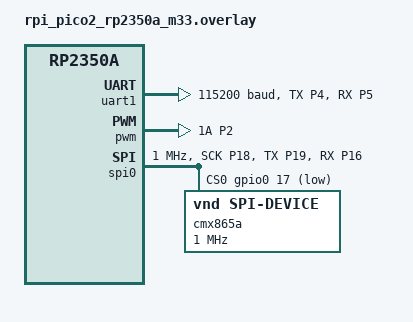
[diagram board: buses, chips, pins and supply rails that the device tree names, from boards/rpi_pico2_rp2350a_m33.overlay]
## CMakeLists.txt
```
cmake_minimum_required(VERSION 3.20.0)

find_package(Zephyr REQUIRED HINTS $ENV{ZEPHYR_BASE})
project(blueline)

target_sources(app PRIVATE
	src/main.c
	src/fsm_main.c
	src/pico_io.c
	src/bt_uart.c
	src/bt_fsm.c
	src/bm_83.c
	src/slic.c
	src/ring.c
	src/tone.c
)
```

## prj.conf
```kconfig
CONFIG_GPIO=y
CONFIG_LOG=y
CONFIG_THREAD_NAME=y
CONFIG_PRINTK=y
CONFIG_SERIAL=y
CONFIG_UART_INTERRUPT_DRIVEN=y
CONFIG_PWM=y
CONFIG_SPI=y
CONFIG_EVENTS=y

# Log buffer: BM83 sends event bursts (one every ~5 ms) faster than the
# 115200 baud console can print them; 1024 (default) drops log messages
CONFIG_LOG_BUFFER_SIZE=8192
```

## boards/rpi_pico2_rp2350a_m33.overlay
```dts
/*
 * blueline - devicetree overlay for rpi_pico2/rp2350a/m33
 *
 * Only changes to the stock board devicetree are listed here. The stock board
 * already provides: gpio0, console on uart0 (GPIO0 TX / GPIO1 RX) and the user
 * LED led0 on GPIO25.
 *
 * GPIO usage of this project. The pins are configured at runtime in
 * src/pico_io.c, not through devicetree nodes:
 *
 *   GPIO2   POT_FWD_PIN      SLIC, PWM1 output (slice 1 A), 25 Hz, duty 100 % = high (src/ring.c)
 *   GPIO3   POT_PDOWN_N_PIN  SLIC power down, tristate after init (src/slic.c)
 *   GPIO6   BT_RST_N_PIN     output (BM83 reset, src/bm_83.c), low after init
 *   GPIO7   RING_MODE_PIN    SLIC, output, low after init, switched by bell_fsm (src/ring.c)
 *   GPIO8   BT_MFB_PIN       output (BM83 MFB, src/bm_83.c), low after init
 *   GPIO11  SHK_RISING_PIN   input, no pulls, IRQ on rising edge
 *   GPIO12  SHK_FALLING_PIN  input, no pulls, IRQ on falling edge
 *   GPIO25  PICO_IO_LED_PIN  output, user LED, high = on
 *
 * UART1 to the Microchip BM83 Bluetooth module (src/bt_uart.c):
 *
 *   GPIO4   UART1 TX  (RP2350 -> BM83)
 *   GPIO5   UART1 RX  (BM83 -> RP2350)
 *   115200 baud, 8N1, no flow control
 *
 * SPI0 (C-BUS) to the CMX865A Telecom Signalling Device (src/tone.c):
 *
 *   GP16  SPI0 RX  (MISO, CMX865A REPLY DATA)
 *   GP17  CS0      (CMX865A CSN, GPIO chip select, active low)
 *   GP18  SPI0 SCK (CMX865A SERIAL CLOCK)
 *   GP19  SPI0 TX  (MOSI, CMX865A COMMAND DATA)
 *   1 MHz (C-BUS max 5 MHz), SPI mode 3
 */

/* pico_io.c uses gpio0 directly (DT_NODELABEL(gpio0)) */
&gpio0 {
	status = "okay";
};

/* The stock board enables i2c0 (GPIO4/5) and i2c1 (GPIO6/7). These pins are
 * used here for UART1 and RING_MODE, so both I2C controllers are disabled. */
&i2c0 {
	status = "disabled";
};

&i2c1 {
	status = "disabled";
};

&pinctrl {
	/* ringer PWM: PWM slice 1 channel A on GP2 (POT_FWD), src/ring.c */
	pwm_ch1a_default: pwm_ch1a_default {
		group1 {
			pinmux = <PWM_1A_P2>;
		};
	};

	/* SPI0 without the hardware CSN: GP17 is a GPIO chip select, so CSN
	 * stays low for a whole multi-byte C-BUS transaction */
	spi0_cmx: spi0_cmx {
		group1 {
			pinmux = <SPI0_SCK_P18>, <SPI0_TX_P19>;
		};
		group2 {
			pinmux = <SPI0_RX_P16>;
			input-enable;
		};
	};

	uart1_default: uart1_default {
		group1 {
			pinmux = <UART1_TX_P4>;
		};
		group2 {
			pinmux = <UART1_RX_P5>;
			input-enable;
		};
	};
};

/* BM83 link, no hw-flow-control property = no RTS/CTS */
&uart1 {
	status = "okay";
	current-speed = <115200>;
	pinctrl-0 = <&uart1_default>;
	pinctrl-names = "default";
};

/* Ringer PWM on GP2 (src/ring.c). Replaces the board default pinctrl
 * (PWM 4B on the user LED GP25), so GP25 stays a GPIO. */
&pwm {
	status = "okay";
	pinctrl-0 = <&pwm_ch1a_default>;
	pinctrl-names = "default";
};

/* CMX865A on SPI0 (src/tone.c) */
&spi0 {
	status = "okay";
	clock-frequency = <DT_FREQ_M(1)>;
	pinctrl-0 = <&spi0_cmx>;
	pinctrl-names = "default";
	cs-gpios = <&gpio0 17 GPIO_ACTIVE_LOW>;

	cmx865a: cmx865a@0 {
		compatible = "vnd,spi-device";
		reg = <0>;
		spi-max-frequency = <DT_FREQ_M(1)>;
	};
};
```

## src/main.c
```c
/*
 * blueline - main.c
 * Target: Raspberry Pi Pico 2 (RP2350), Zephyr RTOS
 * Initialises the I/O and creates all application threads.
 */

#include <zephyr/kernel.h>
#include <zephyr/logging/log.h>

#include "main.h"
#include "fsm_main.h"
#include "bt_fsm.h"
#include "pico_io.h"
#include "bt_uart.h"
#include "bm_83.h"
#include "slic.h"
#include "ring.h"
#include "tone.h"

LOG_MODULE_REGISTER(main, LOG_LEVEL_INF);

/* ---- fsm_thread -------------------------------------------------------- */

K_THREAD_STACK_DEFINE(fsm_thread_stack, FSM_THREAD_STACK_SIZE);
static struct k_thread fsm_thread_data;
static k_tid_t fsm_thread_id;

/* ---- bt_fsm_thread ----------------------------------------------------- */

K_THREAD_STACK_DEFINE(bt_fsm_thread_stack, BT_FSM_THREAD_STACK_SIZE);
static struct k_thread bt_fsm_thread_data;
static k_tid_t bt_fsm_thread_id;

/* ---- bt_rx_thread ------------------------------------------------------ */

K_THREAD_STACK_DEFINE(bt_rx_thread_stack, BT_RX_THREAD_STACK_SIZE);
static struct k_thread bt_rx_thread_data;
static k_tid_t bt_rx_thread_id;

/* ---- ring_thread ------------------------------------------------------- */

K_THREAD_STACK_DEFINE(ring_thread_stack, RING_THREAD_STACK_SIZE);
static struct k_thread ring_thread_data;
static k_tid_t ring_thread_id;

/* ---- bell_thread ------------------------------------------------------- */

K_THREAD_STACK_DEFINE(bell_thread_stack, BELL_THREAD_STACK_SIZE);
static struct k_thread bell_thread_data;
static k_tid_t bell_thread_id;

/* ---- tone_thread ------------------------------------------------------- */

K_THREAD_STACK_DEFINE(tone_thread_stack, TONE_THREAD_STACK_SIZE);
static struct k_thread tone_thread_data;
static k_tid_t tone_thread_id;

/* ---- further threads will be added here -------------------------------- */

int main(void)
{
	LOG_INF("blueline starting");

	/* first: RING_MODE low, then POT_FWD (GP2) PWM at 100 % */
	if (slic_init() < 0) {
		LOG_ERR("SLIC init failed, stopping");
		return -1;
	}

	if (ring_init() < 0) {
		LOG_ERR("ringer PWM init failed, stopping");
		return -1;
	}

	if (pico_io_init() < 0) {
		LOG_ERR("I/O init failed, stopping");
		return -1;
	}

	if (bt_uart_init() < 0) {
		LOG_ERR("BM83 UART init failed, stopping");
		return -1;
	}

	/* CMX865A: reset, power up, TXA/TXAN disconnected.
	 * A failure is only logged, the telephone works without it. */
	if (cmx_init() < 0) {
		LOG_ERR("CMX865A init failed");
	}


	fsm_thread_id = k_thread_create(&fsm_thread_data,
					fsm_thread_stack,
					K_THREAD_STACK_SIZEOF(fsm_thread_stack),
					fsm_main,
					NULL, NULL, NULL,
					FSM_THREAD_PRIORITY, 0, K_NO_WAIT);
	k_thread_name_set(fsm_thread_id, "fsm_thread");

	bt_fsm_thread_id = k_thread_create(&bt_fsm_thread_data,
					   bt_fsm_thread_stack,
					   K_THREAD_STACK_SIZEOF(bt_fsm_thread_stack),
					   bt_fsm_main,
					   NULL, NULL, NULL,
					   BT_FSM_THREAD_PRIORITY, 0, K_NO_WAIT);
	k_thread_name_set(bt_fsm_thread_id, "bt_fsm_thread");

	bt_rx_thread_id = k_thread_create(&bt_rx_thread_data,
					  bt_rx_thread_stack,
					  K_THREAD_STACK_SIZEOF(bt_rx_thread_stack),
					  bt_rx_main,
					  NULL, NULL, NULL,
					  BT_RX_THREAD_PRIORITY, 0, K_NO_WAIT);
	k_thread_name_set(bt_rx_thread_id, "bt_rx_thread");

	ring_thread_id = k_thread_create(&ring_thread_data,
					 ring_thread_stack,
					 K_THREAD_STACK_SIZEOF(ring_thread_stack),
					 generate_ring,
					 NULL, NULL, NULL,
					 RING_THREAD_PRIORITY, 0, K_NO_WAIT);
	k_thread_name_set(ring_thread_id, "ring_thread");

	bell_thread_id = k_thread_create(&bell_thread_data,
					 bell_thread_stack,
					 K_THREAD_STACK_SIZEOF(bell_thread_stack),
					 bell_fsm_main,
					 NULL, NULL, NULL,
					 BELL_THREAD_PRIORITY, 0, K_NO_WAIT);
	k_thread_name_set(bell_thread_id, "bell_thread");

	tone_thread_id = k_thread_create(&tone_thread_data,
					 tone_thread_stack,
					 K_THREAD_STACK_SIZEOF(tone_thread_stack),
					 tone_fsm_main,
					 NULL, NULL, NULL,
					 TONE_THREAD_PRIORITY, 0, K_NO_WAIT);
	k_thread_name_set(tone_thread_id, "tone_thread");

	/* BM83 power-up runs last: bt_rx_thread is already running and shows
	 * the BM83 responses (ACKs, status events) as they arrive. */
	if (IS_ENABLED(BT_UART_TX_DISABLE)) {
		/* BM83 is being programmed through J3: leave it alone */
		LOG_WRN("BT_UART_TX_DISABLE: bm83_init() skipped, GP6/GP8 not driven");
	} else if (bm83_init() < 0) {
		LOG_ERR("BM83 init failed");
		return -1;
	}

	/* main returns; the application threads keep running */
	return 0;
}
```

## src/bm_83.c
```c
/*
 * blueline - bm_83.c
 * Microchip BM83 Bluetooth module: control signals, power-up sequence and
 * commands sent over the UART (bt_uart.c).
 *
 * Power-up sequence (bm83_init):
 *   bt_rst_n = low, bt_mfb = low
 *   100 ms -> bt_mfb   = high
 *    20 ms -> bt_rst_n = high (BM83 out of reset)
 *   500 ms
 *   MMI action 0x51 (power on button press)
 *   MMI action 0x52 (power on button release)
 *   Read_BTM_Version (firmware version)
 *   MMI action 0x5D (enter pairing mode)
 *   bt_mfb = low
 *
 * MFB handshake: in host MCU mode MFB is the BM83 UART_RX_IND input
 * ("UART data from the MCU follows"), see Audio UART Command Set 4.1/4.4/4.5.
 *   command:    MFB high, >= 3 ms, send, wait for Command_ACK (max 200 ms),
 *               MFB low
 *   Event_ACK:  MFB high, >= 3 ms, send, MFB low (no reply)
 * Commands (main thread) and Event_ACKs (bt_rx_thread) can overlap, so MFB
 * is reference counted: high with the first user, low after the last one.
 *
 * The BM83 must be programmed with a host MCU mode configuration (UART
 * command interface enabled), otherwise it ignores all UART commands.
 */

#include <string.h>

#include <zephyr/kernel.h>
#include <zephyr/device.h>
#include <zephyr/drivers/gpio.h>
#include <zephyr/logging/log.h>

#include "bm_83.h"
#include "bt_uart.h"
#include "bt_fsm.h"
#include "tone.h"

LOG_MODULE_REGISTER(bm_83, LOG_LEVEL_INF);

static const struct device *const gpio0 = DEVICE_DT_GET(DT_NODELABEL(gpio0));

/* ---- MFB handshake ----------------------------------------------------- */

K_MUTEX_DEFINE(mfb_mutex);
static uint8_t mfb_users;	/* senders that currently need MFB high */
static int64_t mfb_rise_ticks;	/* uptime when MFB went high */

/* MFB high (if not already) without waiting for the lead time */
static void bm83_mfb_raise(void)
{
	k_mutex_lock(&mfb_mutex, K_FOREVER);
	if (mfb_users++ == 0) {
		gpio_pin_set(gpio0, BT_MFB_PIN, 1);
		mfb_rise_ticks = k_uptime_ticks();
	}
	k_mutex_unlock(&mfb_mutex);
}

/* MFB high and wait until it has been high for BM83_MFB_LEAD_MS */
static void bm83_mfb_get(void)
{
	int64_t ready;
	int64_t now;

	bm83_mfb_raise();

	k_mutex_lock(&mfb_mutex, K_FOREVER);
	ready = mfb_rise_ticks + k_ms_to_ticks_ceil64(BM83_MFB_LEAD_MS);
	k_mutex_unlock(&mfb_mutex);

	now = k_uptime_ticks();
	if (now < ready) {
		k_sleep(K_TICKS(ready - now));
	}
}

/* Release MFB: low again when no other sender needs it */
static void bm83_mfb_put(void)
{
	k_mutex_lock(&mfb_mutex, K_FOREVER);
	if (mfb_users > 0 && --mfb_users == 0) {
		gpio_pin_set(gpio0, BT_MFB_PIN, 0);
	}
	k_mutex_unlock(&mfb_mutex);
}

/* ---- Command_ACK ------------------------------------------------------- */

/* Only one command at a time waits for its Command_ACK */
K_MUTEX_DEFINE(cmd_mutex);
K_SEM_DEFINE(cmd_ack_sem, 0, 1);
static bool cmd_ack_pending;
static uint8_t cmd_ack_id;	/* opcode of the command waiting for its ACK */
static uint8_t cmd_ack_status;

void bm83_command_ack_received(uint8_t cmd_id, uint8_t status)
{
	if (cmd_ack_pending && cmd_id == cmd_ack_id) {
		cmd_ack_status = status;
		cmd_ack_pending = false;

		/* Make_Call result goes to bt_fsm from here, so it is queued
		 * before the Call_Status events that follow the ACK */
		if (cmd_id == BM83_CMD_MAKE_CALL) {
			bt_fsm_post_event(status == BM83_ACK_COMMAND_COMPLETE ?
					  BT_EVT_CALL_ACK_OK : BT_EVT_CALL_ACK_FAIL);
		}

		k_sem_give(&cmd_ack_sem);
	}
}

/* ---- commands ---------------------------------------------------------- */

/* Build a frame for opcode and params */
static int bm83_build(uint8_t *frame, size_t size, uint8_t opcode,
		      const uint8_t *params, uint8_t num_params)
{
	int len;

	len = bt_uart_build_frame(frame, size, opcode, params, num_params);
	if (len < 0) {
		LOG_ERR("command 0x%02X: cannot build frame (%d)", opcode, len);
	}
	return len;
}

/* Send a command with the MFB handshake and wait for its Command_ACK.
 * Must not be called from bt_rx_thread (it delivers the Command_ACK).
 * Returns 0 on "command complete", -EIO for another ACK status,
 * -ETIMEDOUT if no Command_ACK arrives within BM83_CMD_ACK_TIMEOUT_MS. */
static int bm83_send_cmd(uint8_t opcode, const uint8_t *params, uint8_t num_params)
{
	uint8_t frame[BT_FRAME_MAX_LEN];
	int len;
	int ret;

	len = bm83_build(frame, sizeof(frame), opcode, params, num_params);
	if (len < 0) {
		return len;
	}

	k_mutex_lock(&cmd_mutex, K_FOREVER);

	k_sem_reset(&cmd_ack_sem);
	cmd_ack_id = opcode;
	cmd_ack_pending = true;

	bm83_mfb_get();
	bt_uart_send(frame, len);
	ret = k_sem_take(&cmd_ack_sem, K_MSEC(BM83_CMD_ACK_TIMEOUT_MS));
	bm83_mfb_put();

	cmd_ack_pending = false;

	if (ret != 0) {
		LOG_WRN("command 0x%02X: no Command_ACK within %d ms",
			opcode, BM83_CMD_ACK_TIMEOUT_MS);
		ret = -ETIMEDOUT;
	} else if (cmd_ack_status != BM83_ACK_COMMAND_COMPLETE) {
		LOG_WRN("command 0x%02X: Command_ACK status 0x%02X",
			opcode, cmd_ack_status);
		ret = -EIO;
	}

	k_mutex_unlock(&cmd_mutex);
	return ret;
}

int bm83_mmi_action(uint8_t action)
{
	const uint8_t params[] = { BM83_DATABASE_INDEX, action };

	LOG_INF("tx: MMI action 0x%02X", action);
	return bm83_send_cmd(BM83_CMD_MMI_ACTION, params, sizeof(params));
}

int bm83_enter_pairing(void)
{
	LOG_INF("tx: enter pairing mode");
	return bm83_mmi_action(BM83_MMI_ENTER_PAIRING);
}

int bm83_read_link_status(void)
{
	const uint8_t params[] = { 0x00 };	/* reserved */

	LOG_INF("tx: Read_Link_Status");
	return bm83_send_cmd(BM83_CMD_READ_LINK_STATUS, params, sizeof(params));
}

/* Print Read_Link_Status_Reply: device state, then per database the connected
 * profiles, play status and stream status */
static void bm83_log_link_status(const uint8_t *params, uint8_t num_params)
{
	static const char *const states[] = {
		"power off", "pairing", "standby", "connected (HF only)",
		"connected (A2DP only)", "connected (SPP only)",
		"connected (multi-profile)",
	};

	if (num_params < 3) {
		return;
	}

	LOG_INF("link status: device state 0x%02X %s", params[0],
		params[0] < ARRAY_SIZE(states) ? states[params[0]] : "unknown");

	for (uint8_t db = 0; db < 2; db++) {
		uint8_t con = params[1 + db];

		LOG_INF("link status: database %u: HF %s, A2DP %s/%s, AVRCP %s, SPP %s"
			" (0x%02X), play 0x%02X, stream 0x%02X",
			db,
			(con & BIT(3)) ? "yes" : "no",
			(con & BIT(0)) ? "sig" : "-",
			(con & BIT(1)) ? "stream" : "-",
			(con & BIT(2)) ? "yes" : "no",
			(con & BIT(4)) ? "yes" : "no",
			con,
			num_params > 3 + db ? params[3 + db] : 0,
			num_params > 5 + db ? params[5 + db] : 0);
	}
}

int bm83_end_call(void)
{
	LOG_INF("tx: end call");
	return bm83_mmi_action(BM83_MMI_END_CALL);
}

int bm83_accept_call(void)
{
	LOG_INF("tx: accept call");
	return bm83_mmi_action(BM83_MMI_ACCEPT_CALL);
}

int bm83_make_call(const char *number, uint8_t len)
{
	uint8_t params[1 + BM83_PHONE_NUMBER_MAX];

	if (len > BM83_PHONE_NUMBER_MAX) {
		LOG_ERR("Make_Call: number too long (%u digits)", len);
		return -EINVAL;
	}

	params[0] = BM83_DATABASE_INDEX;
	memcpy(&params[1], number, len);

	LOG_INF("tx: Make_Call \"%.*s\"", len, number);
	return bm83_send_cmd(BM83_CMD_MAKE_CALL, params, 1 + len);
}

/* HF link state, written by bt_rx_thread, read by tone_thread */
static atomic_t hf_connected;

bool bm83_hf_connected(void)
{
	return atomic_get(&hf_connected) != 0;
}

void bm83_handle_event(uint8_t opcode, const uint8_t *params, uint8_t num_params)
{
	switch (opcode) {
	case BM83_EVT_BTM_STATUS:
		/* params: state, link_info, ... */
		if (num_params < 1) {
			break;
		}
		if (params[0] == BM83_BTM_HF_LINK_UP) {
			atomic_set(&hf_connected, 1);
			LOG_INF("HF link established");
		} else if (params[0] == BM83_BTM_HF_LINK_DOWN ||
			   params[0] == BM83_BTM_ACL_DOWN ||
			   params[0] == BM83_BTM_POWER_OFF) {
			if (atomic_set(&hf_connected, 0) != 0) {
				LOG_INF("HF link disconnected");
			}
		}
		break;
	case BM83_EVT_LINK_STATUS_REPLY:
		bm83_log_link_status(params, num_params);
		break;
	case BM83_EVT_CALL_STATUS:
		/* params: data_base_index, call status */
		if (num_params < 2) {
			break;
		}
		if (params[1] == BM83_CALL_OUTGOING || params[1] == BM83_CALL_ACTIVE) {
			bt_fsm_post_event(BT_EVT_CALL_OUTGOING);
		} else if (params[1] == BM83_CALL_IDLE) {
			bt_fsm_post_event(BT_EVT_CALL_IDLE);
			/* call ended (e.g. the other party hung up) */
			tone_fsm_post_event(TONE_EVT_CALL_IDLE);
		} else if (params[1] == BM83_CALL_INCOMING) {
			bt_fsm_post_event(BT_EVT_CALL_INCOMING);
			/* lifting the handset now answers the call: no dial tone */
			tone_fsm_post_event(TONE_EVT_CALL_INCOMING);
		}
		break;
	default:
		break;
	}
}

int bm83_read_btm_version(uint8_t type)
{
	const uint8_t params[] = { type };

	LOG_INF("tx: Read_BTM_Version type 0x%02X", type);
	return bm83_send_cmd(BM83_CMD_READ_BTM_VERSION, params, sizeof(params));
}

int bm83_event_ack(uint8_t event_id)
{
	const uint8_t params[] = { event_id };
	uint8_t frame[BT_FRAME_MAX_LEN];
	int len;

	len = bm83_build(frame, sizeof(frame), BM83_CMD_EVENT_ACK,
			 params, sizeof(params));
	if (len < 0) {
		return len;
	}

	/* the BM83 does not answer an Event_ACK: MFB low right after sending */
	bm83_mfb_get();
	bt_uart_send(frame, len);
	bm83_mfb_put();

	LOG_DBG("tx: Event_ACK 0x%02X", event_id);
	return 0;
}

/* ---- init -------------------------------------------------------------- */

int bm83_init(void)
{
	int ret;

	if (!device_is_ready(gpio0)) {
		LOG_ERR("gpio0 not ready");
		return -ENODEV;
	}

	/* bt_rst_n: output, low (BM83 held in reset) */
	ret = gpio_pin_configure(gpio0, BT_RST_N_PIN, GPIO_OUTPUT_LOW);
	if (ret < 0) {
		LOG_ERR("bt_rst_n pin config failed (%d)", ret);
		return ret;
	}

	/* bt_mfb: output, low */
	ret = gpio_pin_configure(gpio0, BT_MFB_PIN, GPIO_OUTPUT_LOW);
	if (ret < 0) {
		LOG_ERR("bt_mfb pin config failed (%d)", ret);
		return ret;
	}

	/* MFB stays high from here through the power-up commands */
	k_msleep(BM83_MFB_HIGH_DELAY_MS);
	bm83_mfb_raise();

	k_msleep(BM83_RST_HIGH_DELAY_MS);
	gpio_pin_set(gpio0, BT_RST_N_PIN, 1);

	k_msleep(BM83_CMD_DELAY_MS);

	ret = bm83_mmi_action(BM83_MMI_POWER_ON_PRESS);
	if (ret == 0) {
		ret = bm83_mmi_action(BM83_MMI_POWER_ON_RELEASE);
	}
	if (ret == 0) {
		ret = bm83_read_btm_version(BM83_VERSION_FW);
	}
	if (ret == 0) {
		ret = bm83_enter_pairing();
	}

	/* end of the power-up sequence: MFB low unless an Event_ACK is going out */
	bm83_mfb_put();

	if (ret < 0) {
		return ret;
	}

	LOG_INF("BM83 initialised (GPIO%d bt_rst_n / GPIO%d bt_mfb)",
		BT_RST_N_PIN, BT_MFB_PIN);
	return 0;
}
```

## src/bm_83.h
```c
/*
 * blueline - bm_83.h
 * Microchip BM83 Bluetooth module: control signals, power-up sequence and
 * commands sent over the UART (bt_uart.c).
 */

#ifndef BM_83_H
#define BM_83_H

#include <stdbool.h>
#include <stdint.h>
#include <zephyr/sys/util.h>

/* Pin assignment */
#define BT_RST_N_PIN   6   /* output, BM83 reset, active low */
#define BT_MFB_PIN     8   /* output, BM83 multi-function button */

/* Power-up sequence timing */
#define BM83_MFB_HIGH_DELAY_MS   100   /* init -> bt_mfb high */
#define BM83_RST_HIGH_DELAY_MS   20    /* bt_mfb high -> bt_rst_n high */
#define BM83_CMD_DELAY_MS        500   /* bt_rst_n high -> first command */

/* MFB handshake (Audio UART Command Set 4.4/4.5) */
#define BM83_MFB_LEAD_MS          3     /* bt_mfb high -> UART data (> 2 ms) */
#define BM83_CMD_ACK_TIMEOUT_MS   200   /* command -> Command_ACK */

/* Command opcodes */
#define BM83_CMD_MAKE_CALL       0x00
#define BM83_CMD_MMI_ACTION      0x02
#define BM83_CMD_READ_BTM_VERSION  0x08
#define BM83_CMD_READ_LINK_STATUS  0x0D
#define BM83_CMD_EVENT_ACK         0x14

/* Event opcodes */
#define BM83_EVT_COMMAND_ACK       0x00
#define BM83_EVT_BTM_STATUS        0x01
#define BM83_EVT_CALL_STATUS       0x02
#define BM83_EVT_LINK_STATUS_REPLY 0x1E

/* BTM_Status (0x01) states used for the HF link state */
#define BM83_BTM_POWER_OFF         0x00   /* power off */
#define BM83_BTM_HF_LINK_UP        0x05   /* HF/HS link established */
#define BM83_BTM_HF_LINK_DOWN      0x07   /* HF link disconnected */
#define BM83_BTM_ACL_DOWN          0x11   /* ACL disconnected */

/* Call_Status states */
#define BM83_CALL_IDLE             0x00   /* idle, no call */
#define BM83_CALL_INCOMING         0x02   /* incoming call */
#define BM83_CALL_OUTGOING         0x03   /* outgoing call */
#define BM83_CALL_ACTIVE           0x04   /* call active */

/* Database index of all commands with a Data_Base_Index parameter */
#define BM83_DATABASE_INDEX        0x00

/* Make_Call: maximum length of the phone number (ASCII digits) */
#define BM83_PHONE_NUMBER_MAX      19


/* Command_ACK status */
#define BM83_ACK_COMMAND_COMPLETE  0x00

/* MMI actions */
#define BM83_MMI_POWER_ON_PRESS    0x51
#define BM83_MMI_POWER_ON_RELEASE  0x52
#define BM83_MMI_ENTER_PAIRING     0x5D   /* fast enter pairing mode (from non-off) */
#define BM83_MMI_ACCEPT_CALL       0x04   /* accept an incoming call */
#define BM83_MMI_END_CALL          0x06   /* end call / transfer audio to phone */

/* Read_BTM_Version types (reply: event 0x18 Read_BTM_Version_Reply) */
#define BM83_VERSION_UART          0x00
#define BM83_VERSION_FW            0x01

/* Initialise bt_rst_n and bt_mfb, run the power-up sequence, power the
 * BM83 on with MMI actions 0x51/0x52 and request its firmware version
 * (Read_BTM_Version) and put it into pairing mode. bt_mfb is low afterwards.
 * Blocks for about 650 ms.
 * Returns 0 on success, negative errno otherwise. */
int bm83_init(void);

/* Commands below are sent with the MFB handshake and wait for their
 * Command_ACK (max BM83_CMD_ACK_TIMEOUT_MS). They must not be called from
 * bt_rx_thread. Return 0 on "command complete", -EIO for another ACK status,
 * -ETIMEDOUT without ACK, other negative errno on errors. */

/* Send an MMI action command (opcode 0x02, data_base_index 0x00, action). */
int bm83_mmi_action(uint8_t action);

/* Put the BM83 into pairing mode (discoverable), MMI action 0x5D with a
 * pairing tone. Result: BTM_Status 0x01 (pairing), later 0x03 (pairing
 * successful) or 0x04 (pairing failed). */
int bm83_enter_pairing(void);

/* Read_Link_Status (opcode 0x0D): the reply (event 0x1E) is decoded and
 * printed by bm83_handle_event(): device state and, per database, which
 * profiles (A2DP, AVRCP, HF, SPP) are connected. */
int bm83_read_link_status(void);

/* End the active call: MMI action 0x06 "End call / transfer audio to phone". */
int bm83_end_call(void);

/* Accept the incoming call: MMI action 0x04 "Accept an incoming call". */
int bm83_accept_call(void);

/* Make_Call (opcode 0x00): data_base_index 0x00, phone number as ASCII
 * digits (len <= BM83_PHONE_NUMBER_MAX). The Command_ACK result is also
 * posted to bt_fsm (BT_EVT_CALL_ACK_OK / BT_EVT_CALL_ACK_FAIL) by
 * bt_rx_thread. */
int bm83_make_call(const char *number, uint8_t len);

/* Called by bt_rx_thread for every received event except Command_ACK:
 * forwards Call_Status
 * (incoming / outgoing / active / idle) to bt_fsm, Call_Status idle also to
 * tone_fsm, tracks the HF link (BTM_Status), prints Read_Link_Status_Reply.
 * params[] are the event parameters. */
void bm83_handle_event(uint8_t opcode, const uint8_t *params, uint8_t num_params);

/* true while the phone is connected with HF (hands-free) profile: set on
 * BTM_Status 0x05, cleared on 0x07, 0x11 and 0x00. */
bool bm83_hf_connected(void);

/* Send a Read_BTM_Version command (opcode 0x08) with the given type
 * (BM83_VERSION_UART or BM83_VERSION_FW). */
int bm83_read_btm_version(uint8_t type);

/* Acknowledge a received BM83 event (Event_ACK, opcode 0x14, param event_id).
 * Without it the BM83 waits 800 ms before it sends the next event
 * (Audio UART Command Set 4.5.2). Command_ACK events are not acknowledged.
 * Sent with the MFB handshake, does not wait for a reply.
 * Returns 0 on success, negative errno otherwise. */
int bm83_event_ack(uint8_t event_id);

/* Called by bt_rx_thread for every received Command_ACK: wakes up the
 * command waiting for it. */
void bm83_command_ack_received(uint8_t cmd_id, uint8_t status);

#endif /* BM_83_H */
```

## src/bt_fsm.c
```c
/*
 * blueline - bt_fsm.c
 * Bluetooth state machine running in bt_fsm_thread.
 *
 *   BT_IDLE            --BT_EVT_DIALCMPL-->       BT_MAKE_CALL
 *   BT_IDLE            --BT_EVT_CALL_INCOMING-->  BT_RING_BELL
 *   BT_RING_BELL       --BT_EVT_OFFHOOK-->        BT_OUT_ESTABLISHED  (MMI 0x04 accept call)
 *   BT_RING_BELL       --BT_EVT_CALL_IDLE-->      BT_IDLE
 *   BT_MAKE_CALL       --BT_EVT_CALL_ACK_OK-->    BT_CALLER_WAIT
 *   BT_MAKE_CALL       --BT_EVT_CALL_ACK_FAIL-->  BT_NOHF
 *   BT_CALLER_WAIT     --BT_EVT_CALL_OUTGOING-->  BT_OUT_ESTABLISHED
 *   BT_CALLER_WAIT     --BT_EVT_MAIN_IDLE-->      BT_IDLE  (MMI 0x06 end call)
 *   BT_OUT_ESTABLISHED --BT_EVT_MAIN_IDLE-->      BT_IDLE  (MMI 0x06 end call)
 *   BT_OUT_ESTABLISHED --BT_EVT_CALL_IDLE-->      BT_IDLE
 *   every state except BT_IDLE  --BT_EVT_MAIN_IDLE-->  BT_IDLE
 *
 * Entry action of BT_MAKE_CALL: dialed_number_reg (fsm_main) is converted
 * to ASCII and sent with the BM83 command Make_Call (opcode 0x00).
 * Entry action of BT_RING_BELL: ring_start() (ring cadence, ring.c);
 * leaving BT_RING_BELL: ring_stop().
 *
 * Event sources:
 *   BT_EVT_MAIN_IDLE      fsm_main, whenever it enters STATE_S0_IDLE
 *   BT_EVT_DIALCMPL       fsm_main, dialcmpl_timer expired in STATE_S1_OFFHOOK
 *   BT_EVT_CALL_ACK_OK    bt_rx_thread, Command_ACK of Make_Call, status 0x00
 *   BT_EVT_CALL_ACK_FAIL  bt_rx_thread, Command_ACK of Make_Call, status != 0x00;
 *                         bt_fsm itself if no Command_ACK arrives
 *   BT_EVT_CALL_OUTGOING  bt_rx_thread, Call_Status 0x03 or 0x04
 *   BT_EVT_CALL_IDLE      bt_rx_thread, Call_Status 0x00
 *   BT_EVT_CALL_INCOMING  bt_rx_thread, Call_Status 0x02
 *   BT_EVT_OFFHOOK        fsm_main, s0_idle -> s1_offhook (handset lifted)
 * The ACK result comes from bt_rx_thread (not from the return value of
 * bm83_make_call()) so it is queued before the Call_Status event that
 * follows the ACK.
 */

#include <errno.h>

#include <zephyr/kernel.h>
#include <zephyr/logging/log.h>

#include "bt_fsm.h"
#include "fsm_main.h"
#include "bm_83.h"
#include "ring.h"

LOG_MODULE_REGISTER(bt_fsm, LOG_LEVEL_INF);

/* Event queue: filled by fsm_main and bt_rx_thread, emptied by bt_fsm_thread */
K_MSGQ_DEFINE(bt_fsm_event_q, sizeof(bt_fsm_event_t), 8, 4);

static bt_fsm_state_t current_state;

static const char *const state_names[BT_STATE_COUNT] = {
	[BT_IDLE]            = "bt_idle",
	[BT_MAKE_CALL]       = "bt_make_call",
	[BT_CALLER_WAIT]     = "bt_caller_wait",
	[BT_NOHF]            = "bt_nohf",
	[BT_OUT_ESTABLISHED] = "bt_out_established",
	[BT_RING_BELL]       = "bt_ring_bell",
};

/* ---- helpers ----------------------------------------------------------- */

void bt_fsm_post_event(bt_fsm_event_t ev)
{
	/* K_NO_WAIT: safe to call from an ISR; event is dropped if the queue is full */
	if (k_msgq_put(&bt_fsm_event_q, &ev, K_NO_WAIT) != 0) {
		LOG_WRN("event queue full, event %d dropped", ev);
	}
}

bt_fsm_state_t bt_fsm_get_state(void)
{
	return current_state;
}

/* Send dialed_number_reg as Make_Call. Digits are pulse counts: 10 = '0'. */
static void bt_fsm_make_call(void)
{
	uint8_t digits[NUMBER_ARRAY_SIZE];
	char number[NUMBER_ARRAY_SIZE];
	uint8_t len;
	uint8_t n = 0;
	int ret;

	len = fsm_get_dialed_number(digits, sizeof(digits));

	for (uint8_t i = 0; i < len; i++) {
		if (digits[i] >= 1 && digits[i] <= 9) {
			number[n++] = '0' + digits[i];
		} else if (digits[i] == 10) {
			number[n++] = '0';
		} else {
			LOG_WRN("invalid digit %u at position %u skipped", digits[i], i);
		}
	}

	/* debug: show which profiles are connected before calling */
	bm83_read_link_status();

	ret = bm83_make_call(number, n);

	/* With a Command_ACK, bt_rx_thread has already posted the result */
	if (ret == -ETIMEDOUT || (ret < 0 && ret != -EIO)) {
		bt_fsm_post_event(BT_EVT_CALL_ACK_FAIL);
	}
}

/* Change state and execute the entry action of the new state */
static void bt_fsm_enter_state(bt_fsm_state_t new_state)
{
	LOG_INF("state %s -> %s",
		state_names[current_state], state_names[new_state]);

	current_state = new_state;

	switch (new_state) {
	case BT_MAKE_CALL:
		bt_fsm_make_call();
		break;
	case BT_RING_BELL:
		/* start the ring cadence (synchronised with this entry) */
		melody = gb_ring;
		ring_start();
		break;
	default:
		break;
	}
}

/* ---- state handlers ---------------------------------------------------- */

static void state_bt_idle(bt_fsm_event_t ev)
{
	switch (ev) {
	case BT_EVT_DIALCMPL:
		bt_fsm_enter_state(BT_MAKE_CALL);
		break;
	case BT_EVT_CALL_INCOMING:
		bt_fsm_enter_state(BT_RING_BELL);
		break;
	default:
		break;
	}
}

static void state_bt_make_call(bt_fsm_event_t ev)
{
	switch (ev) {
	case BT_EVT_MAIN_IDLE:
		bt_fsm_enter_state(BT_IDLE);
		break;
	case BT_EVT_CALL_ACK_OK:
		bt_fsm_enter_state(BT_CALLER_WAIT);
		break;
	case BT_EVT_CALL_ACK_FAIL:
		bt_fsm_enter_state(BT_NOHF);
		break;
	default:
		break;
	}
}

static void state_bt_caller_wait(bt_fsm_event_t ev)
{
	switch (ev) {
	case BT_EVT_MAIN_IDLE:
		/* handset on hook while the phone is dialling: end the call */
		bm83_end_call();
		bt_fsm_enter_state(BT_IDLE);
		break;
	case BT_EVT_CALL_OUTGOING:
		bt_fsm_enter_state(BT_OUT_ESTABLISHED);
		break;
	default:
		break;
	}
}

static void state_bt_nohf(bt_fsm_event_t ev)
{
	switch (ev) {
	case BT_EVT_MAIN_IDLE:
		bt_fsm_enter_state(BT_IDLE);
		break;
	default:
		break;
	}
}

static void state_bt_out_established(bt_fsm_event_t ev)
{
	switch (ev) {
	case BT_EVT_MAIN_IDLE:
		/* handset on hook: end the call on the phone */
		bm83_end_call();
		bt_fsm_enter_state(BT_IDLE);
		break;
	case BT_EVT_CALL_IDLE:
		/* the call has ended (e.g. the other side hung up) */
		bt_fsm_enter_state(BT_IDLE);
		break;
	default:
		break;
	}
}

static void state_bt_ring_bell(bt_fsm_event_t ev)
{
	switch (ev) {
	case BT_EVT_OFFHOOK:
		/* handset lifted: stop ringing, answer the incoming call */
		ring_stop();
		bm83_accept_call();
		bt_fsm_enter_state(BT_OUT_ESTABLISHED);
		break;
	case BT_EVT_CALL_IDLE:
		/* caller hung up before the handset was lifted */
		ring_stop();
		bt_fsm_enter_state(BT_IDLE);
		break;
	default:
		break;
	}
}

/* ---- thread entry ------------------------------------------------------ */

void bt_fsm_main(void *p1, void *p2, void *p3)
{
	ARG_UNUSED(p1);
	ARG_UNUSED(p2);
	ARG_UNUSED(p3);

	bt_fsm_event_t ev;

	/* After power up bt_fsm starts in BT_IDLE */
	current_state = BT_IDLE;
	LOG_INF("bt_fsm_thread started, state %s", state_names[current_state]);

	while (1) {
		/* Sleep until an event arrives - no polling */
		k_msgq_get(&bt_fsm_event_q, &ev, K_FOREVER);

		switch (current_state) {
		case BT_IDLE:
			state_bt_idle(ev);
			break;
		case BT_MAKE_CALL:
			state_bt_make_call(ev);
			break;
		case BT_CALLER_WAIT:
			state_bt_caller_wait(ev);
			break;
		case BT_NOHF:
			state_bt_nohf(ev);
			break;
		case BT_OUT_ESTABLISHED:
			state_bt_out_established(ev);
			break;
		case BT_RING_BELL:
			state_bt_ring_bell(ev);
			break;
		default:
			LOG_ERR("invalid state %d, back to bt_idle", current_state);
			bt_fsm_enter_state(BT_IDLE);
			break;
		}
	}
}
```

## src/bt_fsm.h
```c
/*
 * blueline - bt_fsm.h
 * Bluetooth state machine running in bt_fsm_thread.
 */

#ifndef BT_FSM_H
#define BT_FSM_H

/* bt_fsm states */
typedef enum {
	BT_IDLE = 0,
	BT_MAKE_CALL,
	BT_CALLER_WAIT,
	BT_NOHF,
	BT_OUT_ESTABLISHED,
	BT_RING_BELL,
	BT_STATE_COUNT
} bt_fsm_state_t;

/* Events delivered to bt_fsm */
typedef enum {
	BT_EVT_MAIN_IDLE = 0,	/* fsm_main entered STATE_S0_IDLE */
	BT_EVT_DIALCMPL,	/* dialcmpl_timer expired while fsm_main in STATE_S1_OFFHOOK */
	BT_EVT_CALL_ACK_OK,	/* Command_ACK of Make_Call with status 0x00 */
	BT_EVT_CALL_ACK_FAIL,	/* Command_ACK of Make_Call with status != 0x00, or no ACK */
	BT_EVT_CALL_OUTGOING,	/* Call_Status: outgoing call (0x03) or call active (0x04) */
	BT_EVT_CALL_IDLE,	/* Call_Status: idle (0x00), the call has ended */
	BT_EVT_CALL_INCOMING,	/* Call_Status: incoming call (0x02) */
	BT_EVT_OFFHOOK,		/* fsm_main: s0_idle -> s1_offhook (handset lifted) */
	BT_EVT_COUNT
} bt_fsm_event_t;

/* Entry point of bt_fsm_thread (signature as required by k_thread_create). */
void bt_fsm_main(void *p1, void *p2, void *p3);

/* Hand an event to bt_fsm. ISR-safe, never blocks. */
void bt_fsm_post_event(bt_fsm_event_t ev);

/* Returns the current bt_fsm state. */
bt_fsm_state_t bt_fsm_get_state(void);

#endif /* BT_FSM_H */
```

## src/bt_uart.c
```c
/*
 * blueline - bt_uart.c
 * UART1 link to the Microchip BM83 Bluetooth module (115200 baud, 8N1,
 * no flow control, TX = GPIO4, RX = GPIO5).
 *
 * Transmit: bt_uart_build_frame() builds a frame, bt_uart_send() sends it
 * (mutex protected, it is used by several threads).
 * The BM83 commands themselves are in bm_83.c.
 *
 * Receive: the UART interrupt bt_uart_isr collects the bytes of one frame
 * and hands the complete raw frame to bt_rx_thread through bt_rx_q.
 * bt_rx_thread checks the checksum first, then stores header, opcode and
 * parameters in rx_buffer (rest filled with 0x00) and prints them together
 * with the BM83 event name of the opcode. Every event except Command_ACK is
 * acknowledged with Event_ACK (bm83_event_ack()).
 */

#include <string.h>

#include <zephyr/kernel.h>
#include <zephyr/device.h>
#include <zephyr/drivers/uart.h>
#include <zephyr/drivers/gpio.h>
#include <zephyr/logging/log.h>

#include "bt_uart.h"
#include "bm_83.h"

LOG_MODULE_REGISTER(bt_uart, LOG_LEVEL_INF);

static const struct device *const bt_uart = DEVICE_DT_GET(DT_NODELABEL(uart1));

/* Complete raw frames: filled by bt_uart_isr, emptied by bt_rx_thread */
K_MSGQ_DEFINE(bt_rx_q, BT_UART_RX_BUF_SIZE, 4, 1);

/* Receive buffer array: header, opcode, parameters, rest 0x00 */
static uint8_t rx_buffer[BT_UART_RX_BUF_SIZE];

/* ---- checksum ---------------------------------------------------------- */

/* checksum = 1 + ~(length(h) + length(l) + opcode + parameters).
 * bytes[] starts at length(h), n = number of bytes to add up. */
static uint8_t bt_uart_checksum(const uint8_t *bytes, size_t n)
{
	uint8_t sum = 0;

	for (size_t i = 0; i < n; i++) {
		sum += bytes[i];
	}

	return (uint8_t)(1 + ~sum);
}

/* ---- transmit ---------------------------------------------------------- */

int bt_uart_build_frame(uint8_t *frame, size_t size, uint8_t opcode,
			const uint8_t *params, uint8_t num_params)
{
	uint16_t length = 1 + num_params;	/* opcode + parameters */
	size_t frame_len = 4 + num_params + 1;

	if (num_params > BT_FRAME_MAX_PARAMS || size < frame_len) {
		return -EINVAL;
	}

	frame[0] = BT_FRAME_HEADER;
	frame[1] = length >> 8;
	frame[2] = length & 0xFF;
	frame[3] = opcode;
	for (uint8_t i = 0; i < num_params; i++) {
		frame[4 + i] = params[i];
	}
	/* checksum over length(h) .. last parameter */
	frame[frame_len - 1] = bt_uart_checksum(&frame[1], frame_len - 2);

	return frame_len;
}

/* bt_uart_send() is called from several threads (main: commands,
 * bt_rx_thread: Event_ACK); the mutex keeps the frames from mixing */
K_MUTEX_DEFINE(bt_tx_mutex);

void bt_uart_send(const uint8_t *data, size_t len)
{
	if (IS_ENABLED(BT_UART_TX_DISABLE)) {
		return;		/* TX pin is tristate */
	}

	k_mutex_lock(&bt_tx_mutex, K_FOREVER);
	for (size_t i = 0; i < len; i++) {
		uart_poll_out(bt_uart, data[i]);
	}
	k_mutex_unlock(&bt_tx_mutex);
}

/* ---- receive ----------------------------------------------------------- */

/* BM83 UART event names, indexed by opcode (NULL = not defined) */
static const char *const bm83_event_names[] = {
	[0x00] = "Command_ACK",
	[0x01] = "BTM_Status",
	[0x02] = "Call_Status",
	[0x03] = "Caller_ID",
	[0x04] = "SMS_Received_Indication",
	[0x05] = "Missed_Call_Indication",
	[0x06] = "Phone_Max_Battery_Level",
	[0x07] = "Phone_Current_Battery_Level",
	[0x08] = "Roaming_Status",
	[0x09] = "Phone_Max_Signal_Strength_Level",
	[0x0A] = "Phone_Current_Signal_Strength_Level",
	[0x0B] = "Phone_Service_Status",
	[0x0C] = "BTM_Battery_Status",
	[0x0D] = "BTM_Charging_Status",
	[0x0E] = "Reset_To_Default",
	[0x0F] = "Report_HF_Gain_Level",
	[0x10] = "EQ_Mode_Indication",
	[0x17] = "Read_Linked_Device_Information_Reply",
	[0x18] = "Read_BTM_Version_Reply",
	[0x19] = "Call_List_Report",
	[0x1A] = "AVC_Specific_Rsp",
	[0x1B] = "BTM_Utility_Req",
	[0x1C] = "Vendor_AT_Cmd_Reply",
	[0x1D] = "Report_Vendor_AT_Event",
	[0x1E] = "Read_Link_Status_Reply",
	[0x1F] = "Read_Paired_Device_Record_Reply",
	[0x20] = "Read_Local_BD_Address_Reply",
	[0x21] = "Read_Local_Device_Name_Reply",
	[0x22] = "Report_SPP/iAP_Data",
	[0x23] = "Report_Link_Back_Status",
	[0x24] = "REPORT_RING_TONE_STATUS",
	[0x25] = "User_Confrim_SSP_Req",
	[0x26] = "Report_AVRCP_Vol_Ctrl",
	[0x27] = "Report_Input_Signal_Level",
	[0x28] = "Report_iAP_Info",
	[0x29] = "REPORT_AVRCP_ABS_VOL_CTRL",
	[0x2A] = "Report_Voice_Prompt_Status",
	[0x2D] = "Report_Type_Codec",
	[0x2E] = "Report_Type_BTM_Setting",
	[0x2F] = "Report_MCU_Update_Reply",
	[0x30] = "Report_BTM_Initial_Status",
	[0x31] = "LE_ANCS_Service_Event",
	[0x32] = "LE_Signaling_Event",
	[0x33] = "Report_nSPK_Link_Status",
	[0x34] = "Report_nSPK_Vendor_Event",
	[0x35] = "Report_nSPK_Audio_Setting",
	[0x36] = "Report_Sound_Effect_Status",
	[0x37] = "Report_Vendor_EEPROM_Data",
	[0x38] = "REPORT_IC_VERSION_INFO",
	[0x39] = "REPORT_LE_GATT_EVENT",
	[0x3A] = "Report_BTM_Link_Mode",
	[0x3B] = "DSP_Dedicated_Event",
	[0x3C] = "Report_nSPK_MISC_Event",
	[0x3D] = "Report_nSPK_Exchange_Link_Info",
	[0x3E] = "Report_Customized_Information",
	[0x3F] = "Report_CSB_CLK",
	[0x40] = "Report_Read_Feature_List_Reply",
	[0x41] = "REPORT_TEST_RESULT_REPLY",
	[0x42] = "Report_Read_EEPROM_Data",
	[0x43] = "PBAPC_Event",
	[0x44] = "AVRCP_Browsing_Event",
};

/* Name of a BM83 event opcode, "unknown" if not in the list */
static const char *bm83_event_name(uint8_t opcode)
{
	if (opcode < ARRAY_SIZE(bm83_event_names) && bm83_event_names[opcode] != NULL) {
		return bm83_event_names[opcode];
	}
	return "unknown";
}

/* Raw frame being collected by the ISR: header, length, opcode, params, checksum */
static uint8_t rx_raw[BT_UART_RX_BUF_SIZE];
static uint8_t rx_pos;
static uint8_t rx_frame_len;

/* Feed one received byte into the frame collector (ISR context) */
static void bt_uart_rx_byte(uint8_t byte)
{
	if (rx_pos == 0) {
		/* wait for the header, ignore fill bytes (0x00) between frames */
		if (byte == BT_FRAME_HEADER) {
			rx_raw[rx_pos++] = byte;
		}
		return;
	}

	rx_raw[rx_pos++] = byte;

	if (rx_pos == 3) {
		uint16_t length = (rx_raw[1] << 8) | rx_raw[2];

		if (length < 1 || length > 1 + BT_FRAME_MAX_PARAMS) {
			LOG_WRN("rx: invalid length %u, frame dropped", length);
			rx_pos = 0;
			return;
		}
		/* header + length(h) + length(l) + length + checksum */
		rx_frame_len = 3 + length + 1;
	} else if (rx_pos > 3 && rx_pos == rx_frame_len) {
		if (k_msgq_put(&bt_rx_q, rx_raw, K_NO_WAIT) != 0) {
			LOG_WRN("rx: queue full, frame dropped");
		}
		rx_pos = 0;
	}
}

static void bt_uart_isr(const struct device *dev, void *user_data)
{
	ARG_UNUSED(user_data);
	uint8_t byte;

	if (!uart_irq_update(dev)) {
		return;
	}

	while (uart_irq_rx_ready(dev) && uart_fifo_read(dev, &byte, 1) == 1) {
		bt_uart_rx_byte(byte);
	}
}

/* Check one raw frame, store it in rx_buffer and print it */
static void bt_uart_rx_frame(const uint8_t *raw)
{
	uint16_t length = (raw[1] << 8) | raw[2];
	uint8_t num_params = length - 1;
	uint8_t checksum = raw[3 + length];
	uint8_t expected = bt_uart_checksum(&raw[1], 2 + length);
	char buf[BT_FRAME_MAX_PARAMS * 5 + 1];	/* "0xAA " per parameter */
	int len = 0;

	/* the checksum is checked before opcode and parameters are used */
	if (checksum != expected) {
		LOG_ERR("rx: checksum error, received 0x%02X, expected 0x%02X",
			checksum, expected);
		return;
	}

	memset(rx_buffer, 0x00, sizeof(rx_buffer));
	rx_buffer[0] = raw[0];			/* header */
	rx_buffer[1] = raw[3];			/* opcode */
	memcpy(&rx_buffer[2], &raw[4], num_params);

	buf[0] = '\0';
	for (uint8_t i = 0; i < num_params; i++) {
		len += snprintk(&buf[len], sizeof(buf) - len, "0x%02X ",
				rx_buffer[2 + i]);
	}

	LOG_INF("rx: %s | checksum 0x%02X | opcode 0x%02X | params %s",
		bm83_event_name(rx_buffer[1]), checksum, rx_buffer[1], buf);

	if (rx_buffer[1] == BM83_EVT_COMMAND_ACK) {
		/* params: command id, status -> wake up the waiting command */
		if (num_params >= 2) {
			bm83_command_ack_received(rx_buffer[2], rx_buffer[3]);
		}
	} else {
		/* acknowledge every other event, so the BM83 sends the next
		 * event right away instead of after its 800 ms timeout */
		bm83_event_ack(rx_buffer[1]);

		/* react to the event (call status for bt_fsm, link status) */
		bm83_handle_event(rx_buffer[1], &rx_buffer[2], num_params);
	}
}

void bt_rx_main(void *p1, void *p2, void *p3)
{
	ARG_UNUSED(p1);
	ARG_UNUSED(p2);
	ARG_UNUSED(p3);

	uint8_t raw[BT_UART_RX_BUF_SIZE];

	while (1) {
		/* Sleep until the ISR has collected a complete frame */
		k_msgq_get(&bt_rx_q, raw, K_FOREVER);
		bt_uart_rx_frame(raw);
	}
}

/* ---- init -------------------------------------------------------------- */

int bt_uart_init(void)
{
	int ret;

	if (!device_is_ready(bt_uart)) {
		LOG_ERR("uart1 not ready");
		return -ENODEV;
	}

	ret = uart_irq_callback_user_data_set(bt_uart, bt_uart_isr, NULL);
	if (ret < 0) {
		LOG_ERR("uart1 IRQ callback failed (%d)", ret);
		return ret;
	}
	uart_irq_rx_enable(bt_uart);
	if (IS_ENABLED(BT_UART_TX_DISABLE)) {
		/* Take GP4 away from UART1: GPIO input, no pulls = tristate */
		ret = gpio_pin_configure(DEVICE_DT_GET(DT_NODELABEL(gpio0)),
					 BT_UART_TX_PIN, GPIO_INPUT);
		if (ret < 0) {
			LOG_ERR("GP%d tristate config failed (%d)", BT_UART_TX_PIN, ret);
			return ret;
		}
		LOG_WRN("uart1 TX disabled, GP%d is tristate (BT_UART_TX_DISABLE)",
			BT_UART_TX_PIN);
	}

	LOG_INF("uart1 (BM83) initialised");
	return 0;
}
```

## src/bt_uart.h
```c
/*
 * blueline - bt_uart.h
 * UART1 link to the Microchip BM83 Bluetooth module: frame build/send and
 * frame receive.
 *
 * Frame format (both directions):
 *   0xAA | length(h) | length(l) | opcode | parameters (0..20) | checksum
 *   length   = 1 (opcode) + number of parameter bytes
 *   checksum = 1 + ~(length(h) + length(l) + opcode + parameters)
 * Bytes between frames (e.g. 0x00) are ignored until the next 0xAA.
 */

#ifndef BT_UART_H
#define BT_UART_H

#include <stddef.h>
#include <stdint.h>

#define BT_FRAME_HEADER      0xAA
#define BT_FRAME_MAX_PARAMS  20

/* Longest frame: header + length(h) + length(l) + opcode + params + checksum */
#define BT_FRAME_MAX_LEN     (4 + BT_FRAME_MAX_PARAMS + 1)

/* UART1 TX pin (RP2350 -> BM83 UART_RXD, pin 29) */
#define BT_UART_TX_PIN       4

/* Programming the BM83 with isUpdate (USB-UART adapter on J3):
 * 1 = GP4 is switched to a GPIO input without pulls (tristate) so the adapter
 *     can drive the BM83 RX line, bt_uart_send() sends nothing, and main()
 *     skips bm83_init() so GP6 (reset) and GP8 (MFB) stay undriven inputs.
 *     Receiving on GP5 still works.
 * 0 = normal operation. */
#define BT_UART_TX_DISABLE   0

/* Size of the receive buffer array */
#define BT_UART_RX_BUF_SIZE  32

/* Initialise UART1 and enable the receive interrupt.
 * Returns 0 on success, negative errno otherwise. */
int bt_uart_init(void);

/* Build a complete frame (header, length, opcode, parameters, checksum) in
 * frame[]. Returns the frame length in bytes, or -EINVAL if num_params is too
 * large or frame[] is too small. */
int bt_uart_build_frame(uint8_t *frame, size_t size, uint8_t opcode,
			const uint8_t *params, uint8_t num_params);

/* Send len bytes on UART1 (blocking). */
void bt_uart_send(const uint8_t *data, size_t len);

/* Entry point of bt_rx_thread: checks and prints received frames. */
void bt_rx_main(void *p1, void *p2, void *p3);

#endif /* BT_UART_H */
```

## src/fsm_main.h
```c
/*
 * blueline - fsm_main.h
 * State machine running in fsm_thread.
 */

#ifndef FSM_MAIN_H
#define FSM_MAIN_H

#include <stdint.h>

/* FSM timer timeouts */
#define PULSE_TIMER_MS    100   /* > make time between dial pulses (~44 ms) */
#define HANGUP_TIMER_MS   100
#define DIALCMPL_TIMER_MS 3000

/* Maximum number of dialled digits stored in number_array */
#define NUMBER_ARRAY_SIZE 19

/* FSM states */
typedef enum {
	STATE_S0_IDLE = 0,
	STATE_S1_OFFHOOK,
	STATE_S2_OPEN,
	STATE_S3_CLOSED,
	STATE_COUNT
} fsm_state_t;

/* Events delivered to the FSM (from ISRs and timer expiry functions) */
typedef enum {
	EVT_SHK_ACTIVE = 0,
	EVT_SHK_INACTIVE,
	EVT_PULSE_TIMEOUT,
	EVT_HANGUP_TIMEOUT,
	EVT_DIALCMPL,
	FSM_EV_COUNT
} fsm_event_t;

/* Entry point of fsm_thread (signature as required by k_thread_create). */
void fsm_main(void *p1, void *p2, void *p3);

/* Hand an event to the FSM. ISR-safe, never blocks. */
void fsm_post_event(fsm_event_t ev);

/* Returns the current state (for debugging / other threads later). */
fsm_state_t fsm_get_state(void);

/* Copy dialed_number_reg (pulse counts, 10 = digit 0) to digits[] (at most
 * size entries). Returns the number of digits. */
uint8_t fsm_get_dialed_number(uint8_t *digits, uint8_t size);

#endif /* FSM_MAIN_H */
```

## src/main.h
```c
/*
 * blueline - main.h
 * Thread configuration.
 */

#ifndef MAIN_H
#define MAIN_H

/* fsm_thread */
#define FSM_THREAD_STACK_SIZE  2048
#define FSM_THREAD_PRIORITY    5

/* bt_fsm_thread: Bluetooth state machine */
#define BT_FSM_THREAD_STACK_SIZE  1024
#define BT_FSM_THREAD_PRIORITY    6

/* bt_rx_thread: checks and prints frames received from the BM83 */
#define BT_RX_THREAD_STACK_SIZE  1024
#define BT_RX_THREAD_PRIORITY    6

/* ring_thread: ring cadence generator */
#define RING_THREAD_STACK_SIZE   1024
#define RING_THREAD_PRIORITY     7

/* bell_thread: bell state machine (RING_MODE / POT_FWD switching) */
#define BELL_THREAD_STACK_SIZE   1024
#define BELL_THREAD_PRIORITY     4

/* tone_thread: tone state machine (CMX865A call progress tones) */
#define TONE_THREAD_STACK_SIZE   1024
#define TONE_THREAD_PRIORITY     6

#endif /* MAIN_H */
```

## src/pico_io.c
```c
/*
 * blueline - pico_io.c
 * GPIO setup for the Raspberry Pi Pico 2 (RP2350): shk and user LED.
 *
 * All GPIOs of bank 0 share one interrupt line to the NVIC (IO_IRQ_BANK0).
 * The Zephyr GPIO driver handles that NVIC interrupt and calls the registered
 * callback with a bit mask of the pins that fired. gpio_int is that common
 * interrupt service routine: further pins are added to GPIO_INT_PIN_MASK and
 * handled in gpio_int as the project grows.
 *
 * shk events:
 *   EVT_SHK_INACTIVE: falling edge on SHK_FALLING_PIN and the pin is still
 *                     low SHK_CHECK_MS after the edge
 *   EVT_SHK_ACTIVE:   rising edge on SHK_RISING_PIN and the pin is still
 *                     high SHK_CHECK_MS after the edge
 */

#include <zephyr/kernel.h>
#include <zephyr/device.h>
#include <zephyr/drivers/gpio.h>
#include <zephyr/logging/log.h>

#include "pico_io.h"
#include "fsm_main.h"

LOG_MODULE_REGISTER(pico_io, LOG_LEVEL_INF);

static const struct device *const gpio0 = DEVICE_DT_GET(DT_NODELABEL(gpio0));

/* All pins that are served by the common ISR gpio_int */
#define GPIO_INT_PIN_MASK  (BIT(SHK_FALLING_PIN) | BIT(SHK_RISING_PIN))

static struct gpio_callback gpio_int_cb;

/* ---- shk level check, SHK_CHECK_MS after the edge ---------------------- */

/* Timer expiry functions run in ISR context */
static void shk_falling_check(struct k_timer *timer)
{
	ARG_UNUSED(timer);

	if (gpio_pin_get_raw(gpio0, SHK_FALLING_PIN) == 0) {
		fsm_post_event(EVT_SHK_INACTIVE);
	}
}

static void shk_rising_check(struct k_timer *timer)
{
	ARG_UNUSED(timer);

	if (gpio_pin_get_raw(gpio0, SHK_RISING_PIN) == 1) {
		fsm_post_event(EVT_SHK_ACTIVE);
	}
}

K_TIMER_DEFINE(shk_falling_timer, shk_falling_check, NULL);
K_TIMER_DEFINE(shk_rising_timer, shk_rising_check, NULL);

/* ---- common interrupt service routine ---------------------------------- */

static void gpio_int(const struct device *dev, struct gpio_callback *cb,
		     uint32_t pins)
{
	ARG_UNUSED(dev);
	ARG_UNUSED(cb);

	if (pins & BIT(SHK_FALLING_PIN)) {
		k_timer_start(&shk_falling_timer, K_MSEC(SHK_CHECK_MS), K_NO_WAIT);
	}

	if (pins & BIT(SHK_RISING_PIN)) {
		k_timer_start(&shk_rising_timer, K_MSEC(SHK_CHECK_MS), K_NO_WAIT);
	}

	/* further GPIO interrupt sources will be handled here */
}

/* ---- public functions -------------------------------------------------- */

int pico_io_init(void)
{
	int ret;

	if (!device_is_ready(gpio0)) {
		LOG_ERR("gpio0 not ready");
		return -ENODEV;
	}

	/* LED: output, initially off */
	ret = gpio_pin_configure(gpio0, PICO_IO_LED_PIN, GPIO_OUTPUT_INACTIVE);
	if (ret < 0) {
		LOG_ERR("LED pin config failed (%d)", ret);
		return ret;
	}

	/* Shk falling: input, no internal pulls */
	ret = gpio_pin_configure(gpio0, SHK_FALLING_PIN, GPIO_INPUT);
	if (ret < 0) {
		LOG_ERR("shk falling pin config failed (%d)", ret);
		return ret;
	}

	/* Shk rising: input, no internal pulls */
	ret = gpio_pin_configure(gpio0, SHK_RISING_PIN, GPIO_INPUT);
	if (ret < 0) {
		LOG_ERR("shk rising pin config failed (%d)", ret);
		return ret;
	}

	/* Register the common ISR for all interrupt pins */
	gpio_init_callback(&gpio_int_cb, gpio_int, GPIO_INT_PIN_MASK);
	ret = gpio_add_callback(gpio0, &gpio_int_cb);
	if (ret < 0) {
		LOG_ERR("adding gpio_int callback failed (%d)", ret);
		return ret;
	}

	ret = gpio_pin_interrupt_configure(gpio0, SHK_FALLING_PIN,
					   GPIO_INT_EDGE_FALLING);
	if (ret < 0) {
		LOG_ERR("shk falling IRQ config failed (%d)", ret);
		return ret;
	}

	ret = gpio_pin_interrupt_configure(gpio0, SHK_RISING_PIN,
					   GPIO_INT_EDGE_RISING);
	if (ret < 0) {
		LOG_ERR("shk rising IRQ config failed (%d)", ret);
		return ret;
	}

	LOG_INF("GPIO%d shk falling / GPIO%d shk rising / GPIO%d LED initialised",
		SHK_FALLING_PIN, SHK_RISING_PIN, PICO_IO_LED_PIN);
	return 0;
}

void pico_io_led_set(bool on)
{
	gpio_pin_set(gpio0, PICO_IO_LED_PIN, on ? 1 : 0);
}
```
